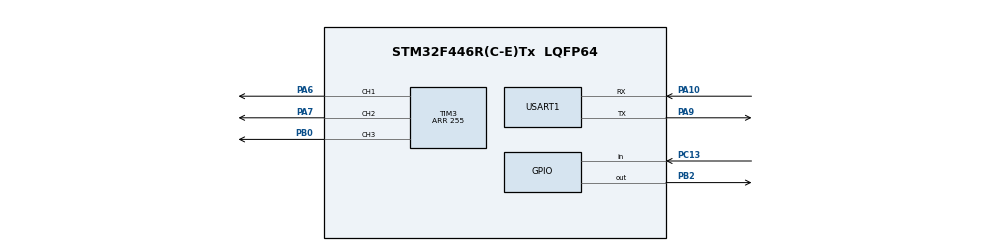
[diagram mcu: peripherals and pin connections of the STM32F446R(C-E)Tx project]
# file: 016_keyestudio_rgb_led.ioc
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Mcu.Family=STM32F4
Mcu.Name=STM32F446R(C-E)Tx
Mcu.Package=LQFP64
NVIC.PriorityGroup=NVIC_PRIORITYGROUP_4
NVIC.USART1_IRQn=true\:0\:0\:false\:false\:true\:true\:true\:true
PA10.Mode=Asynchronous
PA10.Signal=USART1_RX
PA13.Signal=SYS_JTMS-SWDIO
PA14.Signal=SYS_JTCK-SWCLK
PA6.Signal=S_TIM3_CH1
PA7.Signal=S_TIM3_CH2
PA9.Mode=Asynchronous
PA9.Signal=USART1_TX
PB0.Signal=S_TIM3_CH3
PB2.Signal=GPIO_Output
PC13.Signal=GPIO_Input
ProjectManager.HeapSize=0x200
ProjectManager.StackSize=0x400
ProjectManager.TargetToolchain=STM32CubeIDE
RCC.CortexFreq_Value=16000000
RCC.USBFreq_Value=96000000
RCC.VCOOutputFreq_Value=192000000
SH.S_TIM3_CH1.0=TIM3_CH1,PWM Generation1 CH1
SH.S_TIM3_CH2.0=TIM3_CH2,PWM Generation2 CH2
SH.S_TIM3_CH3.0=TIM3_CH3,PWM Generation3 CH3
TIM3.Channel-PWM\ Generation1\ CH1=TIM_CHANNEL_1
TIM3.Channel-PWM\ Generation2\ CH2=TIM_CHANNEL_2
TIM3.Channel-PWM\ Generation3\ CH3=TIM_CHANNEL_3
TIM3.Period=255
USART1.VirtualMode=VM_ASYNC
VP_TIM3_VS_ClockSourceINT.Mode=Internal
board=custom

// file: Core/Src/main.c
/* USER CODE BEGIN Header */
/**
  ******************************************************************************
  * @file           : main.c
  * @brief          : Main program body
  ******************************************************************************
  * @attention
  *
  * Copyright (c) 2025 STMicroelectronics.
  * All rights reserved.
  *
  * This software is licensed under terms that can be found in the LICENSE file
  * in the root directory of this software component.
  * If no LICENSE file comes with this software, it is provided AS-IS.
  *
  ******************************************************************************
  */
/* USER CODE END Header */
#include "main.h"

TIM_HandleTypeDef htim3;

UART_HandleTypeDef huart1;

void SystemClock_Config(void);
static void MX_GPIO_Init(void);
static void MX_TIM3_Init(void);
static void MX_USART1_UART_Init(void);
/* USER CODE BEGIN PFP */
void set_rgb_color(uint8_t red, uint8_t green, uint8_t blue);
void rgb_fade_effect();
/* USER CODE END PFP */

int main(void)
{

  /* MCU Configuration--------------------------------------------------------*/

  /* Reset of all peripherals, Initializes the Flash interface and the Systick. */
  HAL_Init();

  /* Configure the system clock */
  SystemClock_Config();

  /* Initialize all configured peripherals */
  MX_GPIO_Init();
  MX_TIM3_Init();
  MX_USART1_UART_Init();
  /* USER CODE BEGIN 2 */
  // start PWM on all three channels
  HAL_TIM_PWM_Start(&htim3, TIM_CHANNEL_1);  // red
  HAL_TIM_PWM_Start(&htim3, TIM_CHANNEL_2);  // green
  HAL_TIM_PWM_Start(&htim3, TIM_CHANNEL_3);  // blue

  /* USER CODE END 2 */

  /* Infinite loop */
  while (1)
  {

    /* USER CODE BEGIN 3 */
	  rgb_fade_effect();

	  // Pure colors
	  set_rgb_color(255, 0, 0);     // Red
	  HAL_Delay(1000);
	  set_rgb_color(0, 255, 0);     // Green
	  HAL_Delay(1000);
	  set_rgb_color(0, 0, 255);     // Blue
	  HAL_Delay(1000);

	  // Mixed colors
	  set_rgb_color(255, 255, 0);   // Yellow
	  HAL_Delay(1000);
	  set_rgb_color(255, 0, 255);   // Magenta
	  HAL_Delay(1000);
	  set_rgb_color(0, 255, 255);   // Cyan
	  HAL_Delay(1000);

	  // White and off
	  set_rgb_color(255, 255, 255); // White
	  HAL_Delay(1000);
	  set_rgb_color(0, 0, 0);       // Off
	  HAL_Delay(1000);
  }
  /* USER CODE END 3 */
}

void SystemClock_Config(void)
{
  RCC_OscInitTypeDef RCC_OscInitStruct = {0};
  RCC_ClkInitTypeDef RCC_ClkInitStruct = {0};

  /** Configure the main internal regulator output voltage
  */
  __HAL_RCC_PWR_CLK_ENABLE();
  __HAL_PWR_VOLTAGESCALING_CONFIG(PWR_REGULATOR_VOLTAGE_SCALE3);

  /** Initializes the RCC Oscillators according to the specified parameters
  * in the RCC_OscInitTypeDef structure.
  */
  RCC_OscInitStruct.OscillatorType = RCC_OSCILLATORTYPE_HSI;
  RCC_OscInitStruct.HSIState = RCC_HSI_ON;
  RCC_OscInitStruct.HSICalibrationValue = RCC_HSICALIBRATION_DEFAULT;
  RCC_OscInitStruct.PLL.PLLState = RCC_PLL_NONE;
  if (HAL_RCC_OscConfig(&RCC_OscInitStruct) != HAL_OK)
  {
    Error_Handler();
  }

  /** Initializes the CPU, AHB and APB buses clocks
  */
  RCC_ClkInitStruct.ClockType = RCC_CLOCKTYPE_HCLK|RCC_CLOCKTYPE_SYSCLK
                              |RCC_CLOCKTYPE_PCLK1|RCC_CLOCKTYPE_PCLK2;
  RCC_ClkInitStruct.SYSCLKSource = RCC_SYSCLKSOURCE_HSI;
  RCC_ClkInitStruct.AHBCLKDivider = RCC_SYSCLK_DIV1;
  RCC_ClkInitStruct.APB1CLKDivider = RCC_HCLK_DIV1;
  RCC_ClkInitStruct.APB2CLKDivider = RCC_HCLK_DIV1;

  if (HAL_RCC_ClockConfig(&RCC_ClkInitStruct, FLASH_LATENCY_0) != HAL_OK)
  {
    Error_Handler();
  }
}

static void MX_TIM3_Init(void)
{

  TIM_ClockConfigTypeDef sClockSourceConfig = {0};
  TIM_MasterConfigTypeDef sMasterConfig = {0};
  TIM_OC_InitTypeDef sConfigOC = {0};

  htim3.Instance = TIM3;
  htim3.Init.Prescaler = 0;
  htim3.Init.CounterMode = TIM_COUNTERMODE_UP;
  htim3.Init.Period = 255;
  htim3.Init.ClockDivision = TIM_CLOCKDIVISION_DIV1;
  htim3.Init.AutoReloadPreload = TIM_AUTORELOAD_PRELOAD_DISABLE;
  if (HAL_TIM_Base_Init(&htim3) != HAL_OK)
  {
    Error_Handler();
  }
  sClockSourceConfig.ClockSource = TIM_CLOCKSOURCE_INTERNAL;
  if (HAL_TIM_ConfigClockSource(&htim3, &sClockSourceConfig) != HAL_OK)
  {
    Error_Handler();
  }
  if (HAL_TIM_PWM_Init(&htim3) != HAL_OK)
  {
    Error_Handler();
  }
  sMasterConfig.MasterOutputTrigger = TIM_TRGO_RESET;
  sMasterConfig.MasterSlaveMode = TIM_MASTERSLAVEMODE_DISABLE;
  if (HAL_TIMEx_MasterConfigSynchronization(&htim3, &sMasterConfig) != HAL_OK)
  {
    Error_Handler();
  }
  sConfigOC.OCMode = TIM_OCMODE_PWM1;
  sConfigOC.Pulse = 0;
  sConfigOC.OCPolarity = TIM_OCPOLARITY_HIGH;
  sConfigOC.OCFastMode = TIM_OCFAST_DISABLE;
  if (HAL_TIM_PWM_ConfigChannel(&htim3, &sConfigOC, TIM_CHANNEL_1) != HAL_OK)
  {
    Error_Handler();
  }
  if (HAL_TIM_PWM_ConfigChannel(&htim3, &sConfigOC, TIM_CHANNEL_2) != HAL_OK)
  {
    Error_Handler();
  }
  if (HAL_TIM_PWM_ConfigChannel(&htim3, &sConfigOC, TIM_CHANNEL_3) != HAL_OK)
  {
    Error_Handler();
  }
  HAL_TIM_MspPostInit(&htim3);

}

static void MX_USART1_UART_Init(void)
{

  huart1.Instance = USART1;
  huart1.Init.BaudRate = 115200;
  huart1.Init.WordLength = UART_WORDLENGTH_8B;
  huart1.Init.StopBits = UART_STOPBITS_1;
  huart1.Init.Parity = UART_PARITY_NONE;
  huart1.Init.Mode = UART_MODE_TX_RX;
  huart1.Init.HwFlowCtl = UART_HWCONTROL_NONE;
  huart1.Init.OverSampling = UART_OVERSAMPLING_16;
  if (HAL_UART_Init(&huart1) != HAL_OK)
  {
    Error_Handler();
  }

}

static void MX_GPIO_Init(void)
{
  GPIO_InitTypeDef GPIO_InitStruct = {0};

  /* GPIO Ports Clock Enable */
  __HAL_RCC_GPIOC_CLK_ENABLE();
  __HAL_RCC_GPIOA_CLK_ENABLE();
  __HAL_RCC_GPIOB_CLK_ENABLE();

  /*Configure GPIO pin Output Level */
  HAL_GPIO_WritePin(GPIOB, GPIO_PIN_2, GPIO_PIN_RESET);

  /*Configure GPIO pin : PC13 */
  GPIO_InitStruct.Pin = GPIO_PIN_13;
  GPIO_InitStruct.Mode = GPIO_MODE_INPUT;
  GPIO_InitStruct.Pull = GPIO_NOPULL;
  HAL_GPIO_Init(GPIOC, &GPIO_InitStruct);

  /*Configure GPIO pin : PB2 */
  GPIO_InitStruct.Pin = GPIO_PIN_2;
  GPIO_InitStruct.Mode = GPIO_MODE_OUTPUT_PP;
  GPIO_InitStruct.Pull = GPIO_NOPULL;
  GPIO_InitStruct.Speed = GPIO_SPEED_FREQ_LOW;
  HAL_GPIO_Init(GPIOB, &GPIO_InitStruct);

}

/* USER CODE BEGIN 4 */
void set_rgb_color(uint8_t red, uint8_t green, uint8_t blue)
{
	// convert 8-bit values (0-255) to timer compare values
	// assuming timer period is 255 (8-bit resolution)
	__HAL_TIM_SET_COMPARE(&htim3, TIM_CHANNEL_1, red);
	__HAL_TIM_SET_COMPARE(&htim3, TIM_CHANNEL_2, green);
	__HAL_TIM_SET_COMPARE(&htim3, TIM_CHANNEL_3, blue);

}
void rgb_fade_effect()
{
	uint8_t val;

	// fade from 255 to 0
	for (val = 255; val > 0; val--)
	{
		set_rgb_color(val, 255 - val, 128-val);
		HAL_Delay(10);
	}

	// fade from 0 to 255
	for (val = 0; val < 255; val++)
	{
		set_rgb_color(val, 255 - val, 128 - val);
		HAL_Delay(10);
	}
}
/* USER CODE END 4 */

void Error_Handler(void)
{
  __disable_irq();
  while (1)
  {
  }
}
